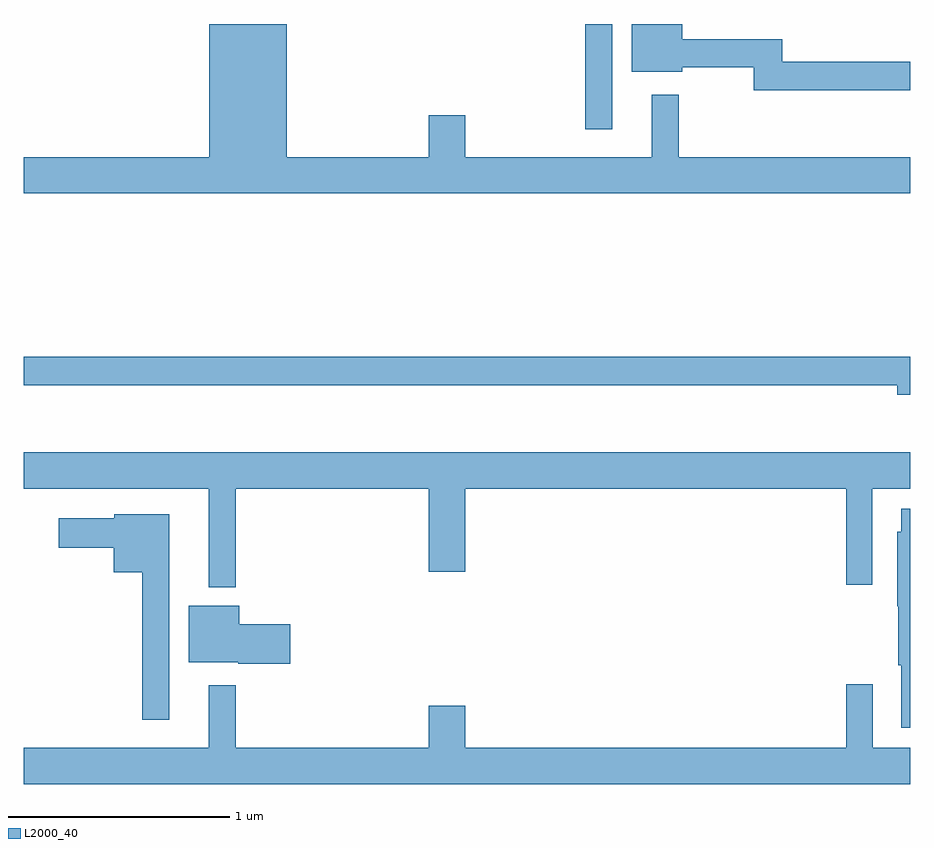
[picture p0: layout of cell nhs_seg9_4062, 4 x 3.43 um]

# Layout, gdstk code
import gdstk
lib = gdstk.Library(unit=1e-6, precision=1e-09)
def R(c, l, rs):  # rectangles x0, y0, x1, y1
    for r in rs: c.add(gdstk.rectangle(r[:2], r[2:], *l))
def P(c, l, *ps):  # polygons
    for p in ps: c.add(gdstk.Polygon(p, *l))
L2000_40 = (2000, 40)

nhs_seg9_4062 = lib.new_cell('nhs_seg9_4062')
R(nhs_seg9_4062, L2000_40, [(345.534,1214.025,345.655,1214.5)])
P(nhs_seg9_4062, L2000_40, [(347,1213.9),(345.955,1213.9),(345.955,1214.182),(345.833,1214.182),(345.833,1213.9),(344.992,1213.9),(344.992,1214.089),(344.828,1214.089),(344.828,1213.9),(344.188,1213.9),(344.188,1214.5),(343.838,1214.5),(343.838,1213.9),(343,1213.9),(343,1213.736),(347,1213.736)],
  [(347,1214.33),(346.421,1214.33),(346.421,1214.432),(345.97,1214.432),(345.97,1214.5),(345.743,1214.5),(345.743,1214.285),(345.97,1214.285),(345.97,1214.304),(346.293,1214.304),(346.293,1214.202),(347,1214.202)],
  [(347,1212.998),(343,1212.998),(343,1212.87),(346.94,1212.87),(346.94,1212.827),(347,1212.827)],
  [(343.957,1212.404),(344.828,1212.404),(344.828,1212.03),(344.992,1212.03),(344.992,1212.404),(346.711,1212.404),(346.711,1211.97),(346.827,1211.97),(346.827,1212.404),(347,1212.404),(347,1212.568),(343,1212.568),(343,1212.404),(343.835,1212.404),(343.835,1211.96),(343.957,1211.96)],
  [(347,1212.313),(346.958,1212.313),(346.958,1212.21),(346.94,1212.21),(346.94,1211.874),(346.946,1211.874),(346.946,1211.608),(346.958,1211.608),(346.958,1211.325),(347,1211.325)],
  [(343.657,1212.289),(343.41,1212.289),(343.41,1212.271),(343.158,1212.271),(343.158,1212.137),(343.406,1212.137),(343.406,1212.026),(343.536,1212.026),(343.536,1211.361),(343.657,1211.361)],
  [(344.203,1211.792),(343.972,1211.792),(343.972,1211.875),(343.745,1211.875),(343.745,1211.621),(343.968,1211.621),(343.968,1211.614),(344.203,1211.614)],
  [(347,1211.236),(346.831,1211.236),(346.831,1211.521),(346.71,1211.521),(346.71,1211.236),(344.992,1211.236),(344.992,1211.425),(344.828,1211.425),(344.828,1211.236),(343.957,1211.236),(343.957,1211.518),(343.835,1211.518),(343.835,1211.236),(343,1211.236),(343,1211.072),(347,1211.072)])

lib.write_gds('nhs_seg9_4062.gds')
